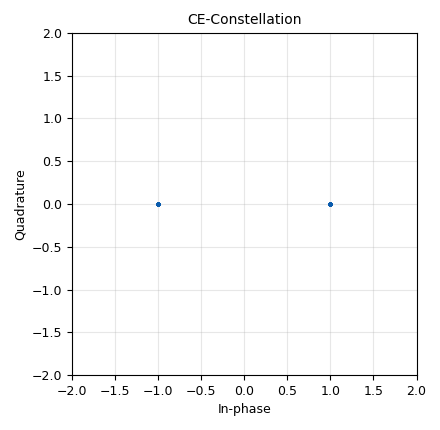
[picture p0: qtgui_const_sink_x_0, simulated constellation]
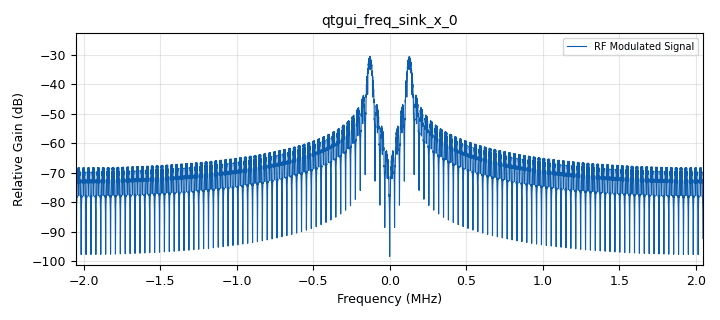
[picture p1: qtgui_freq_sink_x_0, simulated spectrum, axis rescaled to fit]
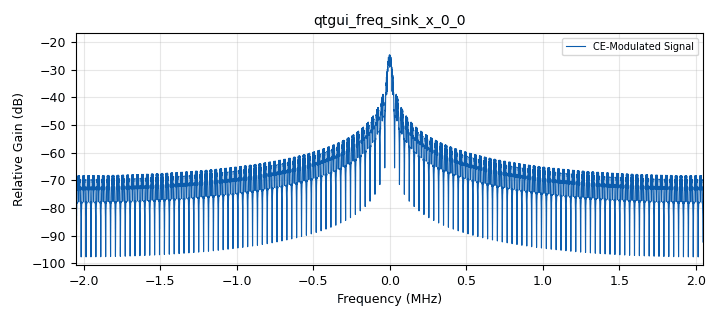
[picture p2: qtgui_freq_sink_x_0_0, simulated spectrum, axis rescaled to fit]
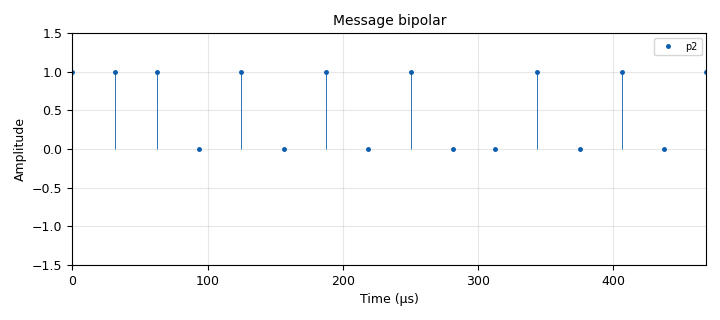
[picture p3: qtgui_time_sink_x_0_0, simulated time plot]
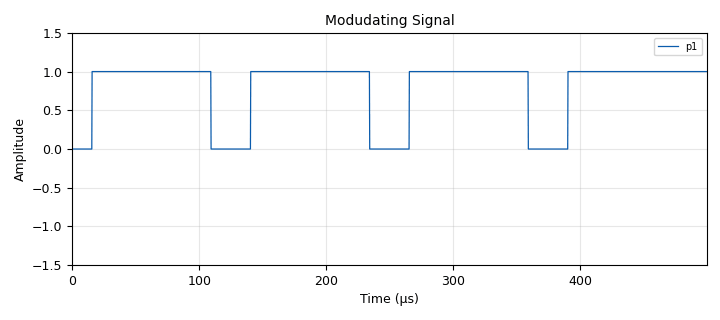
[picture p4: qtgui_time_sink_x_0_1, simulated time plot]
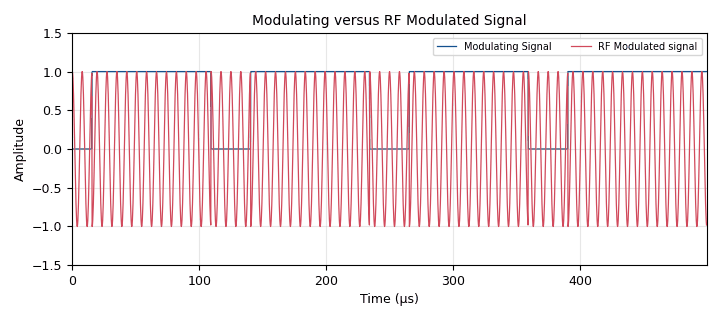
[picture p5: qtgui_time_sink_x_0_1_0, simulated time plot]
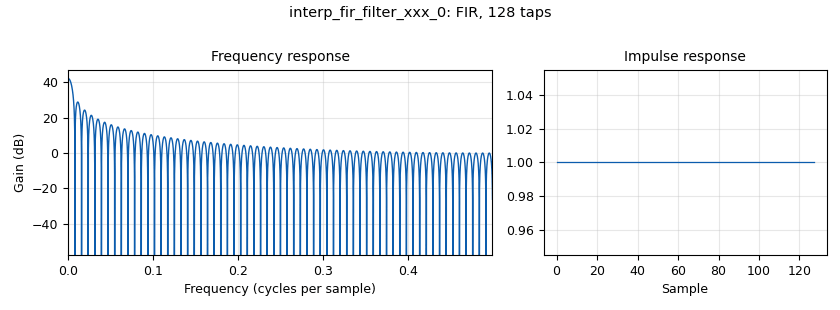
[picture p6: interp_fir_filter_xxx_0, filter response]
options:
  parameters:
    author: radiogis_director
    generate_options: qt_gui
    id: ook
    output_language: python
    title: ook
  states: {}

blocks:
- name: Rb
  id: variable
  parameters:
    value: '32000'
  states: {}
- name: Sps
  id: variable
  parameters:
    value: '128'
  states: {}
- name: fc
  id: variable_qtgui_range
  parameters:
    gui_hint: 0,0,1,1
    label: 'Carrier Freq. '
    start: '0'
    step: samp_rate/1000
    stop: samp_rate/8
    value: Rb*4
  states: {}
- name: fd
  id: variable_qtgui_range
  parameters:
    gui_hint: 0,1,1,1
    label: Deviation Freq
    start: '0'
    step: samp_rate/1000
    stop: samp_rate/8
    value: Rb
  states: {}
- name: h
  id: variable
  parameters:
    value: '[1]*Sps'
  states: {}
- name: samp_rate
  id: variable
  parameters:
    value: Rb*Sps
  states: {}
- name: Menu
  id: qtgui_tab_widget
  parameters:
    gui_hint: 4,0,1,2
    label0: Message
    label1: RF Modulated. Time Domain
    label2: RF Modulated. Freq Domain
    label3: Constellation
    num_tabs: '4'
  states: {}
- name: analog_const_source_x_0
  id: analog_const_source_x
  parameters:
    const: '1'
    type: float
  states: {}
- name: analog_random_source_x_0
  id: analog_random_source_x
  parameters:
    max: '2'
    min: '0'
    num_samps: '1000000'
    repeat: 'True'
    type: byte
  states: {}
- name: blocks_add_const_vxx_0
  id: blocks_add_const_vxx
  parameters:
    const: '-0.5'
    type: float
  states: {state: disabled}
- name: blocks_char_to_float_0
  id: blocks_char_to_float
  parameters:
    scale: '1'
  states: {}
- name: blocks_multiply_const_vxx_0
  id: blocks_multiply_const_vxx
  parameters:
    const: 2*math.pi*fd/(Rb*Sps)
    type: float
  states: {state: disabled}
- name: blocks_multiply_const_vxx_0_0
  id: blocks_multiply_const_vxx
  parameters:
    const: '2'
    type: float
  states: {state: disabled}
- name: blocks_multiply_const_vxx_0_1
  id: blocks_multiply_const_vxx
  parameters:
    const: math.pi
    type: float
  states: {}
- name: epy_block_0
  id: epy_block
  parameters:
    _source_code: "import numpy as np\nfrom gnuradio import gr\nimport math\n\nclass e_RF_VCO_ff(gr.sync_block):  \n    \"\"\"\n    This block is an RF Voltage-Controlled Oscillator (RF VCO).\n    \n    Parameters:\n    - fc (float): Center frequency of the VCO.\n    - samp_rate (float): Sampling rate.\n    \n    The block takes in two input signals, A (Amplitude) and Q (Quadrature),\n    and produces an RF-modulated output signal.\n\n    The block modulates the amplitude (A) with a cosine waveform, where the\n    frequency is determined by the center frequency (fc). The phase of the cosine\n    is controlled by the quadrature (Q).\n\n    The output signal is given by: y = A * cos(2 * pi * fc * n / samp_rate + Q),\n    where n is the sample index.\n    \"\"\"\n\n    def __init__(self, fc=128000, samp_rate=320000):  \n        gr.sync_block.__init__(\n            self,\n            name='e_RF_VCO_ff',   \n            in_sig=[np.float32, np.float32],\n            out_sig=[np.float32]\n        )\n        self.fc = fc\n        self.samp_rate = samp_rate\n        self.n_m = 0\n\n    def work(self, input_items, output_items):\n        # Extract input signals\n        A = input_items[0]\n        Q = input_items[1]\n        \n        # Extract output signal\n        y = output_items[0]\n        \n        # Number of samples\n        N = len(A)\n        \n        # Sample index\n        n = np.linspace(self.n_m, self.n_m + N - 1, N)\n        self.n_m += N\n        \n        # Perform modulation: y = A * cos(2 * pi * fc * n / samp_rate + Q)\n        y[:] = A * np.cos(2 * math.pi * self.fc * n / self.samp_rate + Q)\n        \n        return len(output_items[0])\n\n"
    fc: fc
    samp_rate: samp_rate
  states: {}
- name: epy_block_0_0
  id: epy_block
  parameters:
    _source_code: "import numpy as np\nfrom gnuradio import gr\n\nclass e_CE_VCO_fc(gr.sync_block):  \n    \"\"\"\n    This block is a Complex Envelope Voltage-Controlled Oscillator (CE VCO)\n    and works as follows: It takes in two input signals, A (Amplitude) and Q (Quadrature),\n    and produces a complex output signal y = A * exp(1j * Q).\n\n    Parameters:\n    - A (input_items[0]): Input signal representing the amplitude.\n    - Q (input_items[1]): Input signal representing the quadrature.\n    - y (output_items[0]): Complex output signal.\n\n    The block performs the modulation operation by multiplying the amplitude (A)\n    with the complex exponential of the quadrature (Q), producing the modulated signal.\n    \"\"\"\n\n    def __init__(self):  \n        gr.sync_block.__init__(\n            self,\n            name='e_CE_VCO_fc',   \n            in_sig=[np.float32, np.float32],\n            out_sig=[np.complex64]\n        )\n        \n    def work(self, input_items, output_items):\n        # Extract input signals\n        A = input_items[0]\n        Q = input_items[1]\n        \n        # Extract output signal\n        y = output_items[0]\n        \n        # Number of samples\n        N = len(A)\n        \n        # Perform modulation: y = A * exp(1j * Q)\n        y[:] = A * np.exp(1j * Q)\n        \n        return len(output_items[0])\n\n"
  states: {}
- name: epy_block_0_1
  id: epy_block
  parameters:
    _source_code: |
      """
      Embedded Python Blocks:

      Each time this file is saved, GRC will instantiate the first class it finds
      to get ports and parameters of your block. The arguments to __init__  will
      be the parameters. All of them are required to have default values!
      """

      import numpy as np
      from gnuradio import gr


      class blk(gr.sync_block):  # other base classes are basic_block, decim_block, interp_block
          """Embedded Python Block example - a simple multiply const"""

          def __init__(self,):  # only default arguments here
              """arguments to this function show up as parameters in GRC"""
              gr.sync_block.__init__(
                  self,
                  name='e_Acum',   # will show up in GRC
                  in_sig=[np.float32],
                  out_sig=[np.float32]
              )
              self.acum=0
              
          def work(self, input_items, output_items):
              x=input_items[0]
              y= output_items[0]


              y[:]=self.acum+np.cumsum(x)
              self.acum=y[-1]
              return len(y)
  states: {state: disabled}
- name: import_0
  id: import
  parameters:
    imports: import math
  states: {}
- name: import_0_0
  id: import
  parameters:
    imports: import numpy as np
  states: {}
- name: interp_fir_filter_xxx_0
  id: interp_fir_filter_xxx
  parameters:
    interp: Sps
    taps: h
    type: fff
  states: {}
- name: qtgui_const_sink_x_0
  id: qtgui_const_sink_x
  parameters:
    gui_hint: Menu@3:3,1,1,1
    name: '"CE-Constellation"'
    size: '1024'
    type: complex
    width1: '8'
  states: {}
- name: qtgui_freq_sink_x_0
  id: qtgui_freq_sink_x
  parameters:
    average: '0.05'
    bw: samp_rate
    fc: '0'
    fftsize: 1024*8
    gui_hint: Menu@2:2,1,1,1
    label1: RF Modulated Signal
    type: float
    width1: '2'
    ymax: '-35'
    ymin: '-65'
  states: {}
- name: qtgui_freq_sink_x_0_0
  id: qtgui_freq_sink_x
  parameters:
    average: '0.05'
    bw: samp_rate
    fc: '0'
    fftsize: 1024*8
    gui_hint: Menu@2:3,1,1,1
    label1: CE-Modulated Signal
    type: complex
    width1: '2'
    ymax: '-35'
    ymin: '-65'
  states: {}
- name: qtgui_time_sink_x_0_0
  id: qtgui_time_sink_x
  parameters:
    gui_hint: Menu@0:3,1,1,1
    label1: p2
    marker1: '0'
    name: '"Message bipolar"'
    size: '16'
    srate: Rb
    stemplot: 'True'
    type: float
    width1: '3'
    ymax: '1.5'
    ymin: '-1.5'
  states: {}
- name: qtgui_time_sink_x_0_1
  id: qtgui_time_sink_x
  parameters:
    gui_hint: Menu@0:4,1,1,1
    label1: p1
    name: Modudating Signal
    size: 16*Sps
    srate: samp_rate
    type: float
    width1: '3'
    ymax: '1.5'
    ymin: '-1.5'
  states: {}
- name: qtgui_time_sink_x_0_1_0
  id: qtgui_time_sink_x
  parameters:
    gui_hint: Menu@1:2,1,1,1
    label1: Modulating Signal
    label2: RF Modulated signal
    name: Modulating versus RF Modulated Signal
    nconnections: '2'
    size: 16*Sps
    srate: samp_rate
    type: float
    width1: '4'
    width2: '2'
    ymax: '1.5'
    ymin: '-1.5'
  states: {}
- name: qtgui_time_sink_x_0_1_0_0
  id: qtgui_time_sink_x
  parameters:
    gui_hint: Menu@1:3,1,1,1
    label1: I-Signal
    label2: Q-signal
    name: CE Modulated Signal
    size: 16*Sps
    srate: samp_rate
    type: complex
    width1: '2'
    width2: '2'
    ymax: '1.5'
    ymin: '-1.5'
  states: {}
- name: virtual_sink_0_0
  id: virtual_sink
  parameters:
    stream_id: p2
  states: {}
- name: virtual_sink_0_0_0
  id: virtual_sink
  parameters:
    stream_id: p3
  states: {}
- name: virtual_sink_0_0_0_0
  id: virtual_sink
  parameters:
    stream_id: p4
  states: {}
- name: virtual_sink_0_0_0_0_0
  id: virtual_sink
  parameters:
    stream_id: p4b
  states: {}
- name: virtual_source_0_0
  id: virtual_source
  parameters:
    stream_id: p2
  states: {}
- name: virtual_source_0_1
  id: virtual_source
  parameters:
    stream_id: p3
  states: {}
- name: virtual_source_0_1_0
  id: virtual_source
  parameters:
    stream_id: p4
  states: {}
- name: virtual_source_0_1_0_0
  id: virtual_source
  parameters:
    stream_id: p4b
  states: {}

connections:
- [analog_const_source_x_0, '0', epy_block_0, '0']
- [analog_const_source_x_0, '0', epy_block_0_0, '0']
- [analog_random_source_x_0, '0', blocks_char_to_float_0, '0']
- [blocks_add_const_vxx_0, '0', blocks_multiply_const_vxx_0_0, '0']
- [blocks_char_to_float_0, '0', blocks_add_const_vxx_0, '0']
- [blocks_char_to_float_0, '0', interp_fir_filter_xxx_0, '0']
- [blocks_char_to_float_0, '0', virtual_sink_0_0, '0']
- [blocks_multiply_const_vxx_0_0, '0', interp_fir_filter_xxx_0, '0']
- [blocks_multiply_const_vxx_0_0, '0', virtual_sink_0_0, '0']
- [blocks_multiply_const_vxx_0_1, '0', epy_block_0, '1']
- [blocks_multiply_const_vxx_0_1, '0', epy_block_0_0, '1']
- [epy_block_0, '0', virtual_sink_0_0_0_0, '0']
- [epy_block_0_0, '0', virtual_sink_0_0_0_0_0, '0']
- [epy_block_0_1, '0', blocks_multiply_const_vxx_0, '0']
- [interp_fir_filter_xxx_0, '0', blocks_multiply_const_vxx_0_1, '0']
- [interp_fir_filter_xxx_0, '0', epy_block_0_1, '0']
- [interp_fir_filter_xxx_0, '0', virtual_sink_0_0_0, '0']
- [virtual_source_0_0, '0', qtgui_time_sink_x_0_0, '0']
- [virtual_source_0_1, '0', qtgui_time_sink_x_0_1, '0']
- [virtual_source_0_1, '0', qtgui_time_sink_x_0_1_0, '0']
- [virtual_source_0_1_0, '0', qtgui_freq_sink_x_0, '0']
- [virtual_source_0_1_0, '0', qtgui_time_sink_x_0_1_0, '1']
- [virtual_source_0_1_0_0, '0', qtgui_const_sink_x_0, '0']
- [virtual_source_0_1_0_0, '0', qtgui_freq_sink_x_0_0, '0']
- [virtual_source_0_1_0_0, '0', qtgui_time_sink_x_0_1_0_0, '0']

metadata:
  file_format: 1
